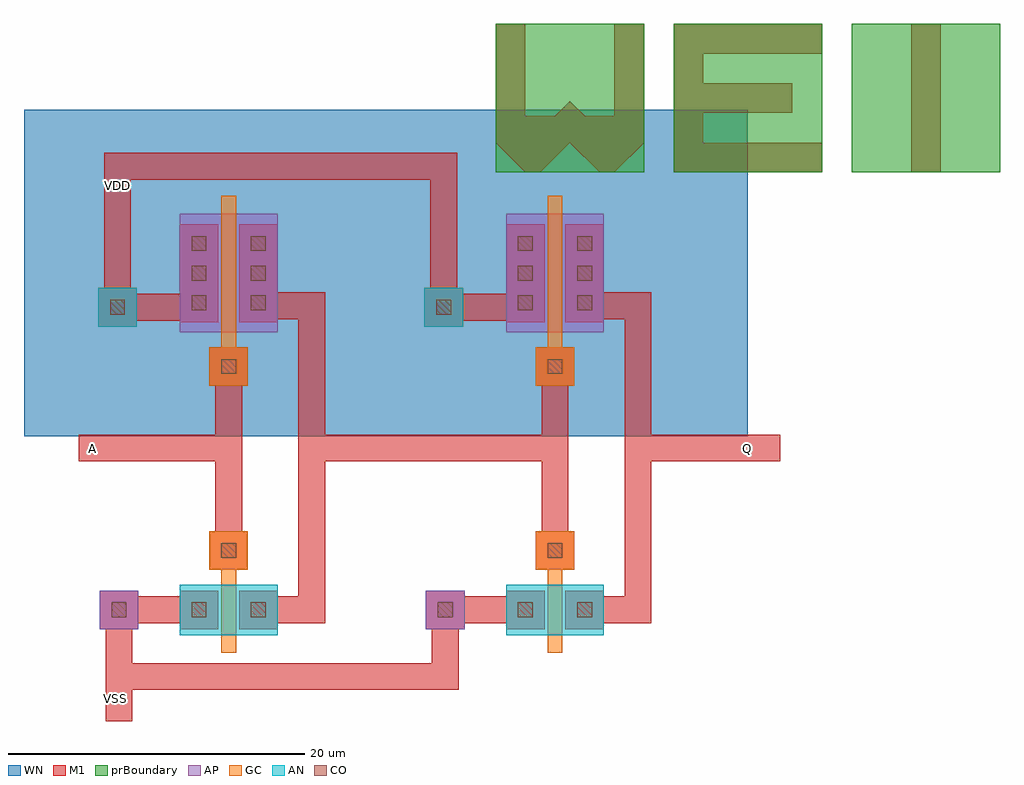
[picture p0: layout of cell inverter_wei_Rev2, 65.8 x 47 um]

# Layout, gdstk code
from math import pi, radians
import gdstk
lib = gdstk.Library(unit=1e-6, precision=1e-07)
def R(c, l, rs):  # rectangles x0, y0, x1, y1
    for r in rs: c.add(gdstk.rectangle(r[:2], r[2:], *l))
def A(c, l, x, y, w, h, nx, ny, dx, dy):  # array of equal rectangles
    R(c, l, [(x+i*dx, y+j*dy, x+i*dx+w, y+j*dy+h) for i in range(nx) for j in range(ny)])
def P(c, l, *ps):  # polygons
    for p in ps: c.add(gdstk.Polygon(p, *l))
AP = (3, 1)
AN = (3, 2)
GC = (8, 1)
CO = (11, 0)
M1 = (13, 0)
WN = (140, 0)
prBoundary = (235, 0)

fet_p = lib.new_cell('fet_p')
R(fet_p, AP, [(-3.3,-4,3.3,4)])
A(fet_p, CO, -2.5, -2.5, 1, 1, 1, 3, 0, 2)
A(fet_p, CO, 1.5, -2.5, 1, 1, 1, 3, 0, 2)
R(fet_p, M1, [(-3.3,-3.3,-0.7,3.3), (0.7,-3.3,3.3,3.3)])
fet_p.add(gdstk.FlexPath([(0,-5.2),(0,5.2)], 1, ends="flush", simple_path=True, layer=8, datatype=1))  # GC

fet_n = lib.new_cell('fet_n')
R(fet_n, AN, [(-3.3,-1.7,3.3,1.7)])
R(fet_n, CO, [(-2.5,-0.5,-1.5,0.5), (1.5,-0.5,2.5,0.5)])
R(fet_n, M1, [(-3.3,-1.3,-0.7,1.3), (0.7,-1.3,3.3,1.3)])
fet_n.add(gdstk.FlexPath([(0,-2.9),(0,2.9)], 1, ends="flush", simple_path=True, layer=8, datatype=1))  # GC

cont_g = lib.new_cell('cont_g')
R(cont_g, GC, [(-1.3,-1.3,1.3,1.3)])
R(cont_g, CO, [(-0.5,-0.5,0.5,0.5)])
R(cont_g, M1, [(-1.3,-1.3,1.3,1.3)])

cont_n = lib.new_cell('cont_n')
R(cont_n, AN, [(-1.3,-1.3,1.3,1.3)])
R(cont_n, CO, [(-0.5,-0.5,0.5,0.5)])
R(cont_n, M1, [(-1.3,-1.3,1.3,1.3)])

cont_p = lib.new_cell('cont_p')
R(cont_p, AP, [(-1.3,-1.3,1.3,1.3)])
R(cont_p, CO, [(-0.5,-0.5,0.5,0.5)])
R(cont_p, M1, [(-1.3,-1.3,1.3,1.3)])

c_w = lib.new_cell('W')
P(c_w, M1, [(2,0),(0,2),(0,10),(2,10),(2,3.8),(4,3.8),(5,4.8),(6,3.8),(8,3.8),(8,10),(10,10),(10,2),(8,0),(7,0),(5,2),(3,0)])
R(c_w, prBoundary, [(0,0,10,10)])

c_e = lib.new_cell('E')
P(c_e, M1, [(0,0),(0,10),(10,10),(10,8),(2,8),(2,6),(8,6),(8,4),(2,4),(2,2),(10,2),(10,0)])
R(c_e, prBoundary, [(0,0,10,10)])

c_i = lib.new_cell('I')
R(c_i, M1, [(4,0,6,10)])
R(c_i, prBoundary, [(0,0,10,10)])

inverter_wei_rev2 = lib.new_cell('inverter_wei_Rev2')
R(inverter_wei_rev2, WN, [(-18.8,-2.8,30,19.2)])
inverter_wei_rev2.add(gdstk.FlexPath([(19,-14.5),(22.6,-14.5),(22.6,6),(19,6)], 1.8, ends="extended", simple_path=True, layer=13, datatype=0))  # M1
inverter_wei_rev2.add(gdstk.FlexPath([(15,-14.5),(9.6,-14.5),(9.6,-19)], 1.8, ends="extended", simple_path=True, layer=13, datatype=0))  # M1
inverter_wei_rev2.add(gdstk.FlexPath([(22.6,-3.6),(31.3,-3.6)], 1.8, ends="extended", simple_path=True, layer=13, datatype=0))  # M1
inverter_wei_rev2.add(gdstk.FlexPath([(17,2),(17,-9)], 1.8, ends="extended", simple_path=True, layer=13, datatype=0))  # M1
inverter_wei_rev2.add(gdstk.FlexPath([(15,5.9),(9.5,5.9),(9.5,15.4),(9.5,15.4)], 1.8, ends="extended", simple_path=True, layer=13, datatype=0))  # M1
inverter_wei_rev2.add(gdstk.FlexPath([(17,-3.6),(0.6,-3.6)], 1.8, ends="extended", simple_path=True, layer=13, datatype=0))  # M1
inverter_wei_rev2.add(gdstk.FlexPath([(-12.4,-19),(9.6,-19),(9.6,-19)], 1.8, ends="extended", simple_path=True, layer=13, datatype=0))  # M1
inverter_wei_rev2.add(gdstk.FlexPath([(9.5,15.4),(-12.5,15.4),(-12.5,15.4)], 1.8, ends="extended", simple_path=True, layer=13, datatype=0))  # M1
inverter_wei_rev2.add(gdstk.FlexPath([(-3,-14.5),(0.6,-14.5),(0.6,6),(-3,6)], 1.8, ends="extended", simple_path=True, layer=13, datatype=0))  # M1
inverter_wei_rev2.add(gdstk.FlexPath([(-7,-14.5),(-12.4,-14.5),(-12.4,-21.1)], 1.8, ends="extended", simple_path=True, layer=13, datatype=0))  # M1
inverter_wei_rev2.add(gdstk.FlexPath([(-5,2),(-5,-9)], 1.8, ends="extended", simple_path=True, layer=13, datatype=0))  # M1
inverter_wei_rev2.add(gdstk.FlexPath([(-7,5.9),(-12.5,5.9),(-12.5,15.4),(-12.5,15.4)], 1.8, ends="extended", simple_path=True, layer=13, datatype=0))  # M1
inverter_wei_rev2.add(gdstk.FlexPath([(-5,-3.6),(-14.2,-3.6)], 1.8, ends="extended", simple_path=True, layer=13, datatype=0))  # M1
inverter_wei_rev2.add(gdstk.Reference(fet_p, (-5,8.2)))
inverter_wei_rev2.add(gdstk.Reference(fet_n, (-5,-14.5)))
inverter_wei_rev2.add(gdstk.Reference(cont_g, (-5,-10.5), rotation=pi))
inverter_wei_rev2.add(gdstk.Reference(cont_g, (-5,1.9), rotation=pi))
inverter_wei_rev2.add(gdstk.Reference(cont_n, (-12.5,5.9), rotation=pi))
inverter_wei_rev2.add(gdstk.Reference(cont_p, (-12.4,-14.5), rotation=pi))
inverter_wei_rev2.add(gdstk.Reference(fet_p, (17,8.2)))
inverter_wei_rev2.add(gdstk.Reference(fet_n, (17,-14.5)))
inverter_wei_rev2.add(gdstk.Reference(cont_g, (17,-10.5), rotation=pi))
inverter_wei_rev2.add(gdstk.Reference(cont_g, (17,1.9), rotation=pi))
inverter_wei_rev2.add(gdstk.Reference(cont_n, (9.5,5.9), rotation=pi))
inverter_wei_rev2.add(gdstk.Reference(cont_p, (9.6,-14.5), rotation=pi))
inverter_wei_rev2.add(gdstk.Reference(c_w, (13,15)))
inverter_wei_rev2.add(gdstk.Reference(c_e, (25,15)))
inverter_wei_rev2.add(gdstk.Reference(c_i, (37,15)))
inverter_wei_rev2.add(gdstk.Label('Q', (30,-3.6), layer=48, texttype=0))
inverter_wei_rev2.add(gdstk.Label('VSS', (-12.6,-20.5), layer=48, texttype=0))
inverter_wei_rev2.add(gdstk.Label('A', (-14.2,-3.6), layer=48, texttype=0))
inverter_wei_rev2.add(gdstk.Label('VDD', (-12.5,14.1), layer=48, texttype=0))

lib.write_gds('inverter_wei_Rev2.gds')
